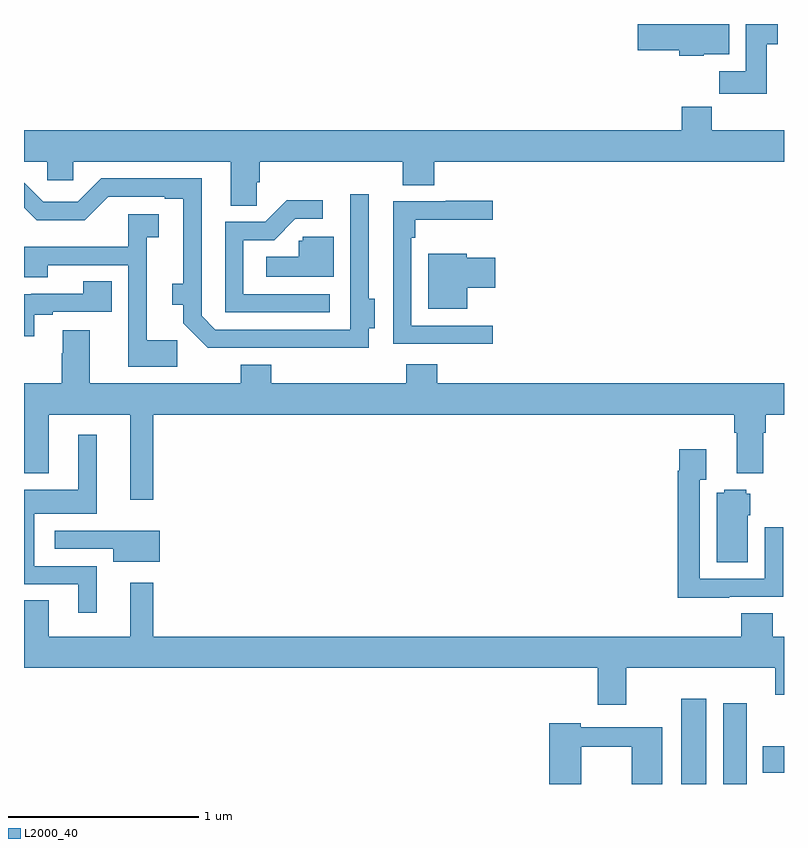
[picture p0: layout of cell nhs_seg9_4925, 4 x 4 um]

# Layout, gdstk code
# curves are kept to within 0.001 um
import gdstk
lib = gdstk.Library(unit=1e-6, precision=1e-09)
def R(c, l, rs):  # rectangles x0, y0, x1, y1
    for r in rs: c.add(gdstk.rectangle(r[:2], r[2:], *l))
def P(c, l, *ps):  # polygons
    for p in ps: c.add(gdstk.Polygon(p, *l))
L2000_40 = (2000, 40)

nhs_seg9_4925 = lib.new_cell('nhs_seg9_4925')
R(nhs_seg9_4925, L2000_40, [(400.46,1170.5,400.591,1170.949), (400.679,1170.5,400.804,1170.925), (400.889,1170.56,401,1170.7)])
P(nhs_seg9_4925, L2000_40, [(400.909,1174.393),(400.966,1174.393),(400.966,1174.5),(400.799,1174.5),(400.799,1174.252),(400.66,1174.252),(400.66,1174.134),(400.909,1174.134)],
  [(400.578,1174.34),(400.711,1174.34),(400.711,1174.5),(400.23,1174.5),(400.23,1174.363),(400.448,1174.363),(400.448,1174.334),(400.578,1174.334)],
  [(398.226,1173.667),(398.24,1173.667),(398.24,1173.776),(398.993,1173.776),(398.993,1173.652),(399.158,1173.652),(399.158,1173.776),(401,1173.776),(401,1173.94),(400.619,1173.94),(400.619,1174.064),(400.463,1174.064),(400.463,1173.94),(397,1173.94),(397,1173.776),(397.122,1173.776),(397.122,1173.678),(397.26,1173.678),(397.26,1173.776),(398.087,1173.776),(398.087,1173.544),(398.226,1173.544)],
  [(398.068,1172.796),(398.814,1172.795),(398.814,1172.9),(398.845,1172.9),(398.845,1173.053),(398.814,1173.053),(398.814,1173.604),(398.718,1173.604),(398.718,1172.892),(398.007,1172.892),(397.935,1172.964),(397.935,1173.687),(397.407,1173.687),(397.284,1173.564),(397.101,1173.564),(397,1173.665),(397,1173.533),(397.066,1173.467),(397.32,1173.467),(397.444,1173.591),(397.742,1173.591),(397.742,1173.579),(397.838,1173.579),(397.838,1173.133),(397.781,1173.133),(397.781,1173.023),(397.838,1173.023),(397.838,1172.924),(397.967,1172.795)],
  [(398.608,1173.078),(398.154,1173.078),(398.154,1173.363),(398.316,1173.363),(398.427,1173.474),(398.572,1173.474),(398.572,1173.572),(398.384,1173.572),(398.271,1173.459),(398.058,1173.459),(398.058,1172.982),(398.608,1172.982)],
  [(399.466,1172.913),(399.039,1172.913),(399.039,1173.374),(399.059,1173.374),(399.059,1173.47),(399.466,1173.47),(399.466,1173.571),(399.221,1173.571),(399.221,1173.567),(398.943,1173.567),(398.943,1172.817),(399.466,1172.817)],
  [(397.806,1172.835),(397.645,1172.835),(397.645,1173.378),(397.708,1173.378),(397.708,1173.499),(397.548,1173.499),(397.548,1173.328),(397.081,1173.328),(397.081,1173.327),(397,1173.327),(397,1173.166),(397.125,1173.166),(397.125,1173.231),(397.548,1173.231),(397.548,1172.696),(397.806,1172.696)],
  [(398.629,1173.381),(398.466,1173.381),(398.466,1173.36),(398.445,1173.36),(398.445,1173.274),(398.274,1173.274),(398.274,1173.17),(398.629,1173.17)],
  [(399.334,1173.113),(399.481,1173.113),(399.481,1173.271),(399.33,1173.271),(399.33,1173.292),(399.128,1173.292),(399.128,1173.002),(399.334,1173.002)],
  [(397.054,1172.97),(397.15,1172.97),(397.15,1172.985),(397.463,1172.985),(397.463,1173.146),(397.312,1173.146),(397.312,1173.081),(397.039,1173.081),(397.039,1173.078),(397,1173.078),(397,1172.856),(397.054,1172.856)],
  [(397.681,1172.444),(400.739,1172.444),(400.739,1172.348),(400.751,1172.348),(400.751,1172.135),(400.891,1172.135),(400.891,1172.348),(400.904,1172.348),(400.904,1172.444),(401,1172.444),(401,1172.608),(399.176,1172.608),(399.176,1172.71),(399.011,1172.71),(399.011,1172.608),(398.3,1172.608),(398.3,1172.707),(398.14,1172.707),(398.14,1172.608),(397.345,1172.608),(397.345,1172.887),(397.205,1172.887),(397.205,1172.768),(397.198,1172.768),(397.198,1172.608),(397,1172.608),(397,1172.135),(397.129,1172.135),(397.129,1172.444),(397.559,1172.444),(397.559,1171.995),(397.681,1171.995)],
  [(397.384,1171.647),(397.054,1171.647),(397.054,1171.922),(397.384,1171.922),(397.384,1172.338),(397.286,1172.338),(397.286,1172.05),(397,1172.05),(397,1171.551),(397.286,1171.551),(397.286,1171.401),(397.384,1171.401)],
  [(400.711,1171.485),(400.995,1171.485),(400.995,1171.852),(400.899,1171.852),(400.899,1171.581),(400.557,1171.581),(400.557,1172.102),(400.591,1172.102),(400.591,1172.263),(400.449,1172.263),(400.449,1172.15),(400.441,1172.15),(400.441,1171.481),(400.711,1171.481)],
  [(400.81,1171.914),(400.822,1171.914),(400.822,1172.028),(400.8,1172.028),(400.8,1172.05),(400.686,1172.05),(400.686,1172.032),(400.646,1172.032),(400.646,1171.666),(400.81,1171.666)],
  [(397.714,1171.834),(397.473,1171.834),(397.473,1171.833),(397.161,1171.833),(397.161,1171.737),(397.469,1171.737),(397.469,1171.67),(397.714,1171.67)],
  [(400.171,1171.112),(400.955,1171.112),(400.955,1170.971),(401,1170.971),(401,1171.276),(400.94,1171.276),(400.94,1171.4),(400.775,1171.4),(400.775,1171.276),(397.681,1171.276),(397.681,1171.558),(397.559,1171.558),(397.559,1171.276),(397.129,1171.276),(397.129,1171.466),(397,1171.466),(397,1171.112),(400.019,1171.112),(400.019,1170.918),(400.171,1170.918)],
  [(399.934,1170.697),(400.198,1170.697),(400.198,1170.5),(400.36,1170.5),(400.36,1170.798),(399.93,1170.798),(399.93,1170.819),(399.764,1170.819),(399.764,1170.5),(399.934,1170.5)])

lib.write_gds('nhs_seg9_4925.gds')
